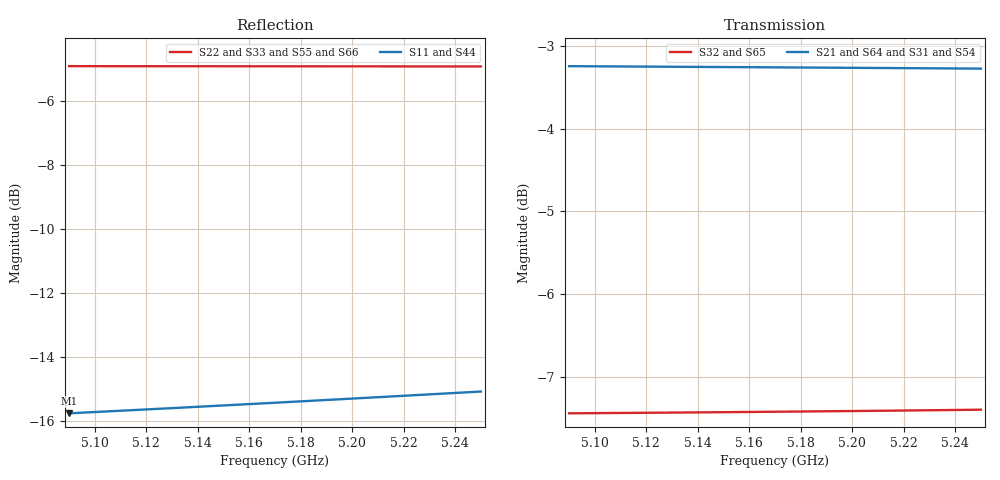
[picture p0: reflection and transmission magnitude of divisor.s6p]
! Touchstone file exported from HFSS 2024.2.0
!  File:  D:/dev/EMBRAER/P1H/R05_Correcao/enig_solido/1x2/Divisor_solido.aedt
!  Generated:  12:28:06 PM Nov  7, 2026
!  Design:  Duplo_radial
!  Project:  Divisor_solido
!  Setup:  Divisor
!  Solution:  Banda
# GHz S RI R 50.000000
! Terminal data exported
! Port[1] = A_IN
! Port[2] = A1
! Port[3] = A2
! Port[4] = B_IN
! Port[5] = B1
! Port[6] = B2
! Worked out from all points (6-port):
!   17 points, 5.09 GHz to 5.25 GHz, reference 50 ohm
!   strongest paths, dB at 5.09 GHz, 5.13 GHz, 5.17 GHz, 5.21 GHz, 5.25 GHz:
!     S21: -3.2, -3.2, -3.3, -3.3, -3.3
!     S64: -3.2, -3.3, -3.3, -3.3, -3.3
!     S31: -3.3, -3.3, -3.3, -3.3, -3.3
!     S54: -3.3, -3.3, -3.3, -3.3, -3.3
!     S32: -7.4, -7.4, -7.4, -7.4, -7.4
!     S65: -7.5, -7.5, -7.4, -7.4, -7.4
!   lowest |S11| = -15.7 dB at 5.09 GHz (marker M1), VSWR 1.39, Z = 50.8 - j16.7 ohm
!   |S11| at or under -10 dB: start of sweep to end of sweep
